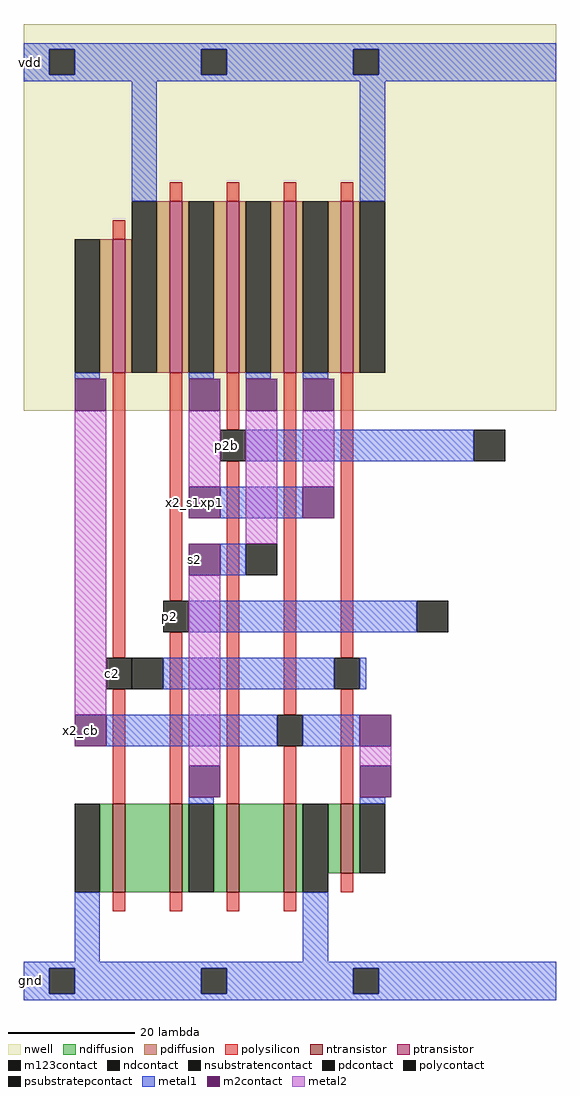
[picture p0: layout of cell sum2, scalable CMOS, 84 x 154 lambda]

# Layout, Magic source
magic
tech scmos
<< nwell >>
rect 0 93 84 154
<< ntransistor >>
rect 14 17 16 31
rect 23 17 25 31
rect 32 17 34 31
rect 41 17 43 31
rect 50 20 52 31
<< ptransistor >>
rect 14 99 16 120
rect 23 99 25 126
rect 32 99 34 126
rect 41 99 43 126
rect 50 99 52 126
<< ndiffusion >>
rect 12 17 14 31
rect 16 17 23 31
rect 25 17 26 31
rect 30 17 32 31
rect 34 17 41 31
rect 43 17 44 31
rect 48 20 50 31
rect 52 20 53 31
<< pdiffusion >>
rect 12 99 14 120
rect 16 99 17 120
rect 21 99 23 126
rect 25 99 26 126
rect 30 99 32 126
rect 34 99 35 126
rect 39 99 41 126
rect 43 99 44 126
rect 48 99 50 126
rect 52 99 53 126
<< ndcontact >>
rect 8 17 12 31
rect 26 17 30 31
rect 44 17 48 31
rect 53 20 57 31
<< pdcontact >>
rect 8 99 12 120
rect 17 99 21 126
rect 26 99 30 126
rect 35 99 39 126
rect 44 99 48 126
rect 53 99 57 126
<< psubstratepcontact >>
rect 4 1 8 5
rect 28 1 32 5
rect 52 1 56 5
<< nsubstratencontact >>
rect 4 146 8 150
rect 28 146 32 150
rect 52 146 56 150
<< polysilicon >>
rect 23 126 25 129
rect 32 126 34 129
rect 41 126 43 129
rect 50 126 52 129
rect 14 120 16 123
rect 14 54 16 99
rect 23 63 25 99
rect 32 90 34 99
rect 14 31 16 49
rect 23 31 25 58
rect 32 31 34 85
rect 41 45 43 99
rect 50 54 52 99
rect 41 31 43 40
rect 50 31 52 49
rect 50 17 52 20
rect 14 14 16 17
rect 23 14 25 17
rect 32 14 34 17
rect 41 14 43 17
<< polycontact >>
rect 31 85 35 90
rect 22 58 26 63
rect 13 49 17 54
rect 49 49 53 54
rect 40 40 44 45
<< metal1 >>
rect 0 150 84 151
rect 0 146 4 150
rect 8 146 28 150
rect 32 146 52 150
rect 56 146 84 150
rect 0 145 84 146
rect 17 126 21 145
rect 53 126 57 145
rect 8 98 12 99
rect 26 98 30 99
rect 35 98 39 99
rect 44 98 48 99
rect 35 85 71 90
rect 31 76 44 81
rect 31 67 35 72
rect 26 58 62 63
rect 22 49 49 54
rect 53 49 54 54
rect 13 40 40 45
rect 44 40 53 45
rect 26 31 30 32
rect 53 31 57 32
rect 8 6 12 17
rect 44 6 48 17
rect 0 5 84 6
rect 0 1 4 5
rect 8 1 28 5
rect 32 1 52 5
rect 56 1 84 5
rect 0 0 84 1
<< m2contact >>
rect 8 93 13 98
rect 26 93 31 98
rect 35 93 40 98
rect 44 93 49 98
rect 26 76 31 81
rect 44 76 49 81
rect 26 67 31 72
rect 8 40 13 45
rect 53 40 58 45
rect 26 32 31 37
rect 53 32 58 37
<< metal2 >>
rect 8 45 13 93
rect 26 81 31 93
rect 35 72 40 93
rect 44 81 49 93
rect 26 37 31 67
rect 53 37 58 40
<< m123contact >>
rect 71 85 76 90
rect 35 67 40 72
rect 17 49 22 54
rect 62 58 67 63
<< labels >>
rlabel metal1 13 49 15 54 0 c2
port 1 nsew
rlabel metal1 22 58 24 63 0 p2
port 2 nsew
rlabel metal1 31 85 33 90 0 p2b
port 3 nsew
rlabel m2contact 26 67 28 72 0 s2
port 4 nsew
rlabel m2contact 8 40 10 45 0 x2_cb
rlabel m2contact 26 76 28 81 0 x2_s1xp1
rlabel metal1 0 145 2 151 0 vdd
port 5 nsew
rlabel metal1 0 0 2 6 0 gnd
port 6 nsew
<< end >>
